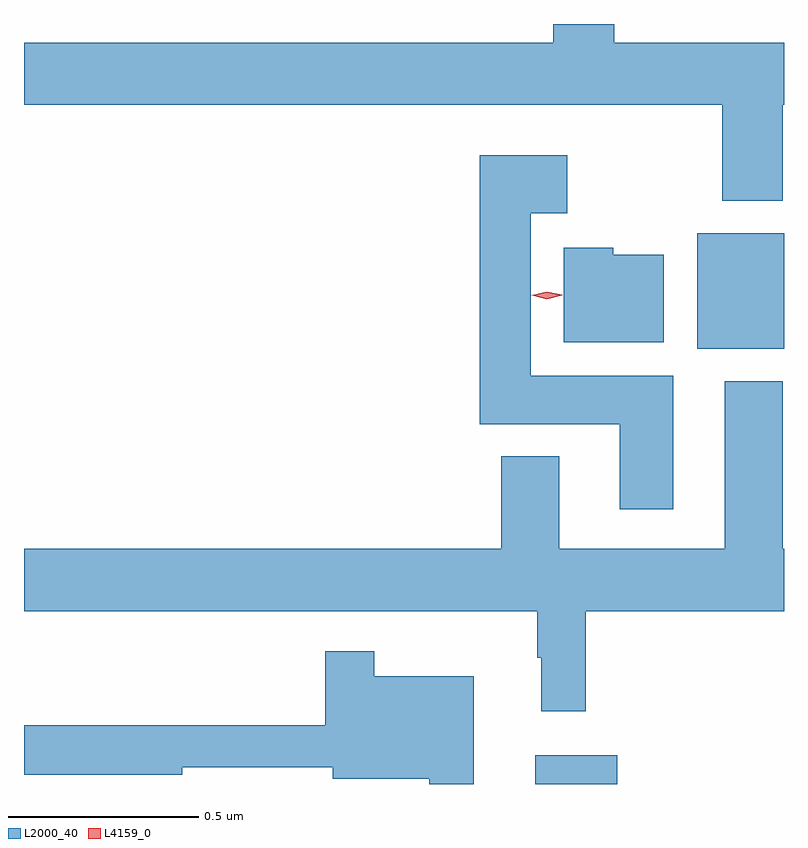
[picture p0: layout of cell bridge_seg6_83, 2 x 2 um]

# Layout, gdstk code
import gdstk
lib = gdstk.Library(unit=1e-6, precision=1e-09)
def R(c, l, rs):  # rectangles x0, y0, x1, y1
    for r in rs: c.add(gdstk.rectangle(r[:2], r[2:], *l))
def P(c, l, *ps):  # polygons
    for p in ps: c.add(gdstk.Polygon(p, *l))
L2000_40 = (2000, 40)
L4159_0 = (4159, 0)

bridge_seg6_83 = lib.new_cell('bridge_seg6_83')
R(bridge_seg6_83, L2000_40, [(736.481,924.237,736.696,924.313), (736.907,925.382,737.135,925.687)])
P(bridge_seg6_83, L2000_40, [(737.132,926.024),(737.135,926.024),(737.135,926.188),(736.688,926.188),(736.688,926.237),(736.528,926.237),(736.528,926.188),(735.135,926.188),(735.135,926.024),(736.972,926.024),(736.972,925.772),(737.132,925.772)],
  [(736.843,925.312),(736.468,925.312),(736.468,925.739),(736.564,925.739),(736.564,925.891),(736.334,925.891),(736.334,925.184),(736.703,925.184),(736.703,924.96),(736.843,924.96)],
  [(736.819,925.63),(736.686,925.63),(736.686,925.648),(736.556,925.648),(736.556,925.4),(736.819,925.4)],
  [(736.613,924.692),(737.135,924.692),(737.135,924.856),(737.132,924.856),(737.132,925.297),(736.979,925.297),(736.979,924.856),(736.543,924.856),(736.543,925.099),(736.391,925.099),(736.391,924.856),(735.135,924.856),(735.135,924.692),(736.485,924.692),(736.485,924.569),(736.496,924.569),(736.496,924.429),(736.613,924.429)],
  [(736.318,924.52),(736.057,924.52),(736.057,924.586),(735.928,924.586),(735.928,924.391),(735.135,924.391),(735.135,924.262),(735.551,924.262),(735.551,924.281),(735.947,924.281),(735.947,924.251),(736.201,924.251),(736.201,924.237),(736.318,924.237)])
P(bridge_seg6_83, L4159_0, [(736.511,925.513),(736.471,925.523),(736.471,925.523),(736.471,925.523),(736.511,925.533),(736.552,925.524),(736.552,925.524),(736.552,925.523)])

lib.write_gds('bridge_seg6_83.gds')
